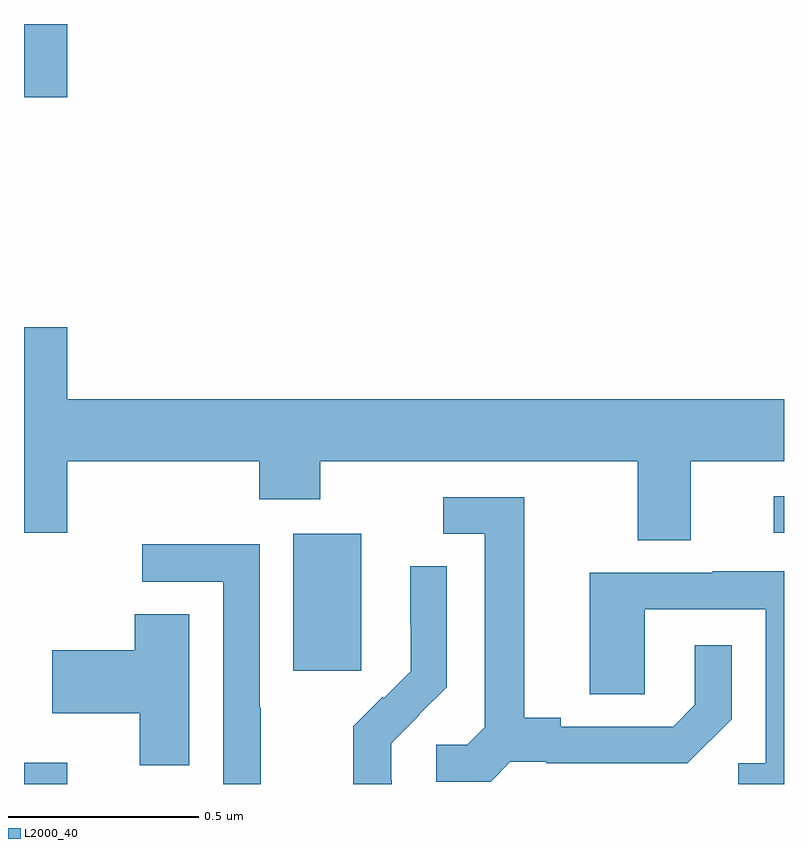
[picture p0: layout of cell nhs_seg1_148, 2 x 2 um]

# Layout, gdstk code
import gdstk
lib = gdstk.Library(unit=1e-6, precision=1e-09)
def R(c, l, rs):  # rectangles x0, y0, x1, y1
    for r in rs: c.add(gdstk.rectangle(r[:2], r[2:], *l))
def P(c, l, *ps):  # polygons
    for p in ps: c.add(gdstk.Polygon(p, *l))
L2000_40 = (2000, 40)

nhs_seg1_148 = lib.new_cell('nhs_seg1_148')
R(nhs_seg1_148, L2000_40, [(112,568.199,112.114,568.255), (112.709,568.497,112.888,568.858), (113.973,568.86,114,568.956), (112,570.006,112.114,570.199)])
P(nhs_seg1_148, L2000_40, [(113.755,569.048),(114,569.048),(114,569.212),(112.114,569.212),(112.114,569.401),(112,569.401),(112,568.86),(112.114,568.86),(112.114,569.048),(112.619,569.048),(112.619,568.949),(112.779,568.949),(112.779,569.048),(113.615,569.048),(113.615,568.84),(113.755,568.84)],
  [(113.28,568.257),(113.374,568.257),(113.374,568.254),(113.746,568.254),(113.862,568.37),(113.862,568.564),(113.765,568.564),(113.765,568.407),(113.708,568.35),(113.413,568.35),(113.413,568.373),(113.317,568.373),(113.317,568.953),(113.103,568.953),(113.103,568.857),(113.213,568.857),(113.213,568.349),(113.166,568.302),(113.085,568.302),(113.085,568.205),(113.228,568.205)],
  [(112.623,568.4),(112.62,568.4),(112.62,568.83),(112.311,568.83),(112.311,568.731),(112.524,568.731),(112.524,568.199),(112.623,568.199)],
  [(112.968,568.209),(112.966,568.209),(112.966,568.306),(113.04,568.38),(113.039,568.381),(113.112,568.454),(113.112,568.772),(113.016,568.772),(113.016,568.618),(113.018,568.618),(113.018,568.496),(112.947,568.425),(112.944,568.428),(112.867,568.351),(112.867,568.199),(112.968,568.199)],
  [(114,568.759),(113.813,568.759),(113.813,568.755),(113.489,568.755),(113.489,568.435),(113.634,568.435),(113.634,568.659),(113.952,568.659),(113.952,568.254),(113.88,568.254),(113.88,568.199),(114,568.199)],
  [(112.435,568.646),(112.292,568.646),(112.292,568.551),(112.074,568.551),(112.074,568.385),(112.304,568.385),(112.304,568.249),(112.435,568.249)])

lib.write_gds('nhs_seg1_148.gds')
